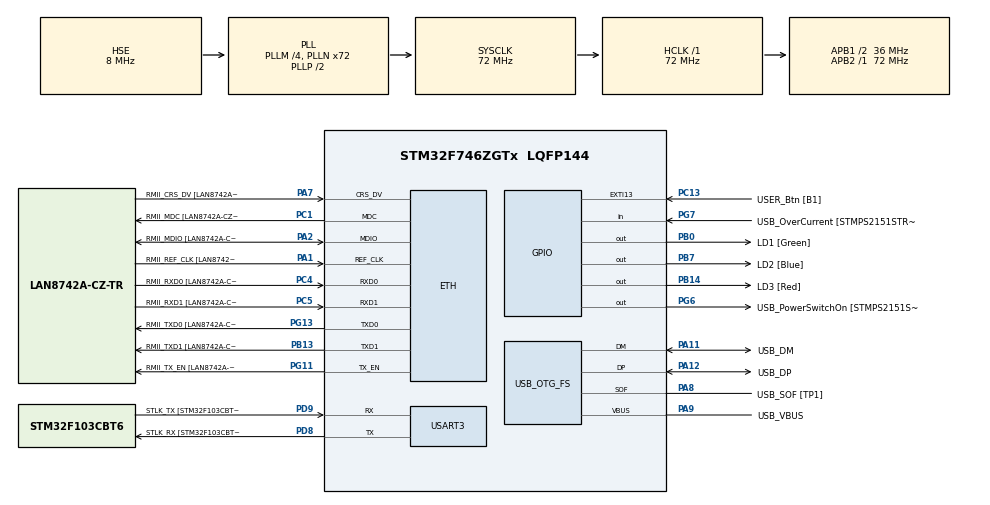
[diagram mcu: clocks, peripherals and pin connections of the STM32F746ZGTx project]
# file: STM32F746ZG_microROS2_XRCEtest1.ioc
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ETH.MediaInterface=ETH_MEDIA_INTERFACE_RMII
ETH.PHY_Name=LAN8742A_PHY_ADDRESS
ETH.PHY_Value=0
ETH.PhyAddress=0
FREERTOS.Tasks01=defaultTask,27,3000,StartDefaultTask,Default,NULL,Dynamic,NULL,NULL
FREERTOS.configUSE_NEWLIB_REENTRANT=1
LWIP.GATEWAY_ADDRESS=192.168.011.001
LWIP.IP_ADDRESS=192.168.011.002
LWIP.LWIP_DHCP=0
LWIP.LWIP_DNS=1
LWIP.LWIP_IGMP=1
LWIP.LWIP_MULTICAST_TX_OPTIONS=1
LWIP.NETMASK_ADDRESS=255.255.255.000
LWIP.Version=v2.1.2_Cube
Mcu.Family=STM32F7
Mcu.Name=STM32F746ZGTx
Mcu.Package=LQFP144
NVIC.ETH_IRQn=true\:5\:0\:false\:false\:true\:true\:false\:true\:true
NVIC.PriorityGroup=NVIC_PRIORITYGROUP_4
NVIC.TIM1_UP_TIM10_IRQn=true\:15\:0\:false\:false\:true\:false\:false\:true\:true
NVIC.TimeBase=TIM1_UP_TIM10_IRQn
NVIC.TimeBaseIP=TIM1
PA1.GPIO_Label=RMII_REF_CLK [LAN8742A-CZ-TR_REFCLK0]
PA1.Mode=RMII
PA1.Signal=ETH_REF_CLK
PA10.GPIO_Label=USB_ID
PA10.Signal=USB_OTG_FS_ID
PA11.GPIO_Label=USB_DM
PA11.Mode=Device_Only
PA11.Signal=USB_OTG_FS_DM
PA12.GPIO_Label=USB_DP
PA12.Mode=Device_Only
PA12.Signal=USB_OTG_FS_DP
PA13.GPIO_Label=TMS
PA13.Mode=Serial_Wire
PA13.Signal=SYS_JTMS-SWDIO
PA14.GPIO_Label=TCK
PA14.Mode=Serial_Wire
PA14.Signal=SYS_JTCK-SWCLK
PA2.GPIO_Label=RMII_MDIO [LAN8742A-CZ-TR_MDIO]
PA2.Mode=RMII
PA2.Signal=ETH_MDIO
PA7.GPIO_Label=RMII_CRS_DV [LAN8742A-CZ-TR_CRS_DV]
PA7.Mode=RMII
PA7.Signal=ETH_CRS_DV
PA8.GPIO_Label=USB_SOF [TP1]
PA8.Mode=Activate_SOF_FS
PA8.Signal=USB_OTG_FS_SOF
PA9.GPIO_Label=USB_VBUS
PA9.Mode=Activate_VBUS
PA9.Signal=USB_OTG_FS_VBUS
PB0.GPIO_Label=LD1 [Green]
PB0.Signal=GPIO_Output
PB13.GPIO_Label=RMII_TXD1 [LAN8742A-CZ-TR_TXD1]
PB13.Mode=RMII
PB13.Signal=ETH_TXD1
PB14.GPIO_Label=LD3 [Red]
PB14.Signal=GPIO_Output
PB3.GPIO_Label=SW0
PB3.Signal=SYS_JTDO-SWO
PB7.GPIO_Label=LD2 [Blue]
PB7.Signal=GPIO_Output
PC1.GPIO_Label=RMII_MDC [LAN8742A-CZ-TR_MDC]
PC1.Mode=RMII
PC1.Signal=ETH_MDC
PC13.GPIO_Label=USER_Btn [B1]
PC13.Signal=GPXTI13
PC14/OSC32_IN.Mode=LSE-External-Oscillator
PC14/OSC32_IN.Signal=RCC_OSC32_IN
PC15/OSC32_OUT.Mode=LSE-External-Oscillator
PC15/OSC32_OUT.Signal=RCC_OSC32_OUT
PC4.GPIO_Label=RMII_RXD0 [LAN8742A-CZ-TR_RXD0]
PC4.Mode=RMII
PC4.Signal=ETH_RXD0
PC5.GPIO_Label=RMII_RXD1 [LAN8742A-CZ-TR_RXD1]
PC5.Mode=RMII
PC5.Signal=ETH_RXD1
PD8.GPIO_Label=STLK_RX [STM32F103CBT6_PA3]
PD8.Mode=Asynchronous
PD8.Signal=USART3_TX
PD9.GPIO_Label=STLK_TX [STM32F103CBT6_PA2]
PD9.Mode=Asynchronous
PD9.Signal=USART3_RX
PG11.GPIO_Label=RMII_TX_EN [LAN8742A-CZ-TR_TXEN]
PG11.Mode=RMII
PG11.Signal=ETH_TX_EN
PG13.GPIO_Label=RMII_TXD0 [LAN8742A-CZ-TR_TXD0]
PG13.Mode=RMII
PG13.Signal=ETH_TXD0
PG6.GPIO_Label=USB_PowerSwitchOn [STMPS2151STR_EN]
PG6.Signal=GPIO_Output
PG7.GPIO_Label=USB_OverCurrent [STMPS2151STR_FAULT]
PG7.Signal=GPIO_Input
PH0/OSC_IN.GPIO_Label=MCO [STM32F103CBT6_PA8]
PH0/OSC_IN.Mode=HSE-External-Clock-Source
PH0/OSC_IN.Signal=RCC_OSC_IN
PH1/OSC_OUT.Mode=HSE-External-Clock-Source
PH1/OSC_OUT.Signal=RCC_OSC_OUT
ProjectManager.HeapSize=0x200
ProjectManager.StackSize=0x400
ProjectManager.TargetToolchain=STM32CubeIDE
RCC.48MHZClocksFreq_Value=24000000
RCC.AHBFreq_Value=72000000
RCC.APB1CLKDivider=RCC_HCLK_DIV2
RCC.APB1Freq_Value=36000000
RCC.APB1TimFreq_Value=72000000
RCC.APB2Freq_Value=72000000
RCC.APB2TimFreq_Value=72000000
RCC.CortexFreq_Value=72000000
RCC.HCLKFreq_Value=72000000
RCC.HSE_VALUE=8000000
RCC.HSI_VALUE=16000000
RCC.PLLM=4
RCC.PLLMUL=RCC_PLL_MUL9
RCC.PLLN=72
RCC.PLLQ=3
RCC.PRESCALERUSB=RCC_USBCLKSOURCE_PLL_DIV1_5
RCC.SYSCLKFreq_VALUE=72000000
RCC.SYSCLKSource=RCC_SYSCLKSOURCE_PLLCLK
RCC.SYSCLKSourceVirtual=RCC_SYSCLKSOURCE_PLLCLK
RCC.USBFreq_Value=48000000
RCC.VCOOutputFreq_Value=144000000
USART3.VirtualMode-Asynchronous=VM_ASYNC
USB_OTG_FS.VirtualMode=Device_Only
VP_FREERTOS_VS_CMSIS_V2.Mode=CMSIS_V2
VP_LWIP_VS_Enabled.Mode=Enabled
VP_SYS_VS_tim1.Mode=TIM1
board=NUCLEO-F746ZG

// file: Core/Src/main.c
/* USER CODE BEGIN Header */
/**
  ******************************************************************************
  * @file           : main.c
  * @brief          : Main program body
  ******************************************************************************
  * @attention
  *
  * Copyright (c) 2022 STMicroelectronics.
  * All rights reserved.
  *
  * This software is licensed under terms that can be found in the LICENSE file
  * in the root directory of this software component.
  * If no LICENSE file comes with this software, it is provided AS-IS.
  *
  ******************************************************************************
  */
/* USER CODE END Header */
#include "main.h"
#include "cmsis_os.h"
#include "lwip.h"

/* USER CODE BEGIN Includes */
#include <rcl/rcl.h>
#include <rcl/error_handling.h>
#include <rclc/rclc.h>
#include <rclc/executor.h>

#include <std_msgs/msg/int32.h>
/* USER CODE END Includes */

UART_HandleTypeDef huart3;

PCD_HandleTypeDef hpcd_USB_OTG_FS;

/* Definitions for defaultTask */
osThreadId_t defaultTaskHandle;
const osThreadAttr_t defaultTask_attributes = {
  .name = "defaultTask",
  .stack_size = 3000 * 4,
  .priority = (osPriority_t) osPriorityNormal3,
};

void SystemClock_Config(void);
static void MX_GPIO_Init(void);
static void MX_USART3_UART_Init(void);
static void MX_USB_OTG_FS_PCD_Init(void);
void StartDefaultTask(void *argument);

/* USER CODE BEGIN PFP */
extern struct netif gnetif;
/* USER CODE END PFP */

int main(void)
{

  /* MCU Configuration--------------------------------------------------------*/

  /* Reset of all peripherals, Initializes the Flash interface and the Systick. */
  HAL_Init();

  /* Configure the system clock */
  SystemClock_Config();

  /* Initialize all configured peripherals */
  MX_GPIO_Init();
  MX_USART3_UART_Init();
  MX_USB_OTG_FS_PCD_Init();

  /* Init scheduler */
  osKernelInitialize();

  /* Create the thread(s) */
  /* creation of defaultTask */
  defaultTaskHandle = osThreadNew(StartDefaultTask, NULL, &defaultTask_attributes);

  /* Start scheduler */
  osKernelStart();

  /* We should never get here as control is now taken by the scheduler */
  /* Infinite loop */
  while (1)
  {

  }
}

void SystemClock_Config(void)
{
  RCC_OscInitTypeDef RCC_OscInitStruct = {0};
  RCC_ClkInitTypeDef RCC_ClkInitStruct = {0};

  /** Configure LSE Drive Capability
  */
  HAL_PWR_EnableBkUpAccess();

  /** Configure the main internal regulator output voltage
  */
  __HAL_RCC_PWR_CLK_ENABLE();
  __HAL_PWR_VOLTAGESCALING_CONFIG(PWR_REGULATOR_VOLTAGE_SCALE3);

  /** Initializes the RCC Oscillators according to the specified parameters
  * in the RCC_OscInitTypeDef structure.
  */
  RCC_OscInitStruct.OscillatorType = RCC_OSCILLATORTYPE_HSE;
  RCC_OscInitStruct.HSEState = RCC_HSE_BYPASS;
  RCC_OscInitStruct.PLL.PLLState = RCC_PLL_ON;
  RCC_OscInitStruct.PLL.PLLSource = RCC_PLLSOURCE_HSE;
  RCC_OscInitStruct.PLL.PLLM = 4;
  RCC_OscInitStruct.PLL.PLLN = 72;
  RCC_OscInitStruct.PLL.PLLP = RCC_PLLP_DIV2;
  RCC_OscInitStruct.PLL.PLLQ = 3;
  if (HAL_RCC_OscConfig(&RCC_OscInitStruct) != HAL_OK)
  {
    Error_Handler();
  }

  /** Initializes the CPU, AHB and APB buses clocks
  */
  RCC_ClkInitStruct.ClockType = RCC_CLOCKTYPE_HCLK|RCC_CLOCKTYPE_SYSCLK
                              |RCC_CLOCKTYPE_PCLK1|RCC_CLOCKTYPE_PCLK2;
  RCC_ClkInitStruct.SYSCLKSource = RCC_SYSCLKSOURCE_PLLCLK;
  RCC_ClkInitStruct.AHBCLKDivider = RCC_SYSCLK_DIV1;
  RCC_ClkInitStruct.APB1CLKDivider = RCC_HCLK_DIV2;
  RCC_ClkInitStruct.APB2CLKDivider = RCC_HCLK_DIV1;

  if (HAL_RCC_ClockConfig(&RCC_ClkInitStruct, FLASH_LATENCY_2) != HAL_OK)
  {
    Error_Handler();
  }
}

static void MX_USART3_UART_Init(void)
{

  huart3.Instance = USART3;
  huart3.Init.BaudRate = 115200;
  huart3.Init.WordLength = UART_WORDLENGTH_8B;
  huart3.Init.StopBits = UART_STOPBITS_1;
  huart3.Init.Parity = UART_PARITY_NONE;
  huart3.Init.Mode = UART_MODE_TX_RX;
  huart3.Init.HwFlowCtl = UART_HWCONTROL_NONE;
  huart3.Init.OverSampling = UART_OVERSAMPLING_16;
  huart3.Init.OneBitSampling = UART_ONE_BIT_SAMPLE_DISABLE;
  huart3.AdvancedInit.AdvFeatureInit = UART_ADVFEATURE_NO_INIT;
  if (HAL_UART_Init(&huart3) != HAL_OK)
  {
    Error_Handler();
  }

}

static void MX_USB_OTG_FS_PCD_Init(void)
{

  hpcd_USB_OTG_FS.Instance = USB_OTG_FS;
  hpcd_USB_OTG_FS.Init.dev_endpoints = 6;
  hpcd_USB_OTG_FS.Init.speed = PCD_SPEED_FULL;
  hpcd_USB_OTG_FS.Init.dma_enable = DISABLE;
  hpcd_USB_OTG_FS.Init.phy_itface = PCD_PHY_EMBEDDED;
  hpcd_USB_OTG_FS.Init.Sof_enable = ENABLE;
  hpcd_USB_OTG_FS.Init.low_power_enable = DISABLE;
  hpcd_USB_OTG_FS.Init.lpm_enable = DISABLE;
  hpcd_USB_OTG_FS.Init.vbus_sensing_enable = ENABLE;
  hpcd_USB_OTG_FS.Init.use_dedicated_ep1 = DISABLE;
  if (HAL_PCD_Init(&hpcd_USB_OTG_FS) != HAL_OK)
  {
    Error_Handler();
  }

}

static void MX_GPIO_Init(void)
{
  GPIO_InitTypeDef GPIO_InitStruct = {0};

  /* GPIO Ports Clock Enable */
  __HAL_RCC_GPIOC_CLK_ENABLE();
  __HAL_RCC_GPIOH_CLK_ENABLE();
  __HAL_RCC_GPIOA_CLK_ENABLE();
  __HAL_RCC_GPIOB_CLK_ENABLE();
  __HAL_RCC_GPIOD_CLK_ENABLE();
  __HAL_RCC_GPIOG_CLK_ENABLE();

  /*Configure GPIO pin Output Level */
  HAL_GPIO_WritePin(GPIOB, LD1_Pin|LD3_Pin|LD2_Pin, GPIO_PIN_RESET);

  /*Configure GPIO pin Output Level */
  HAL_GPIO_WritePin(USB_PowerSwitchOn_GPIO_Port, USB_PowerSwitchOn_Pin, GPIO_PIN_RESET);

  /*Configure GPIO pin : USER_Btn_Pin */
  GPIO_InitStruct.Pin = USER_Btn_Pin;
  GPIO_InitStruct.Mode = GPIO_MODE_IT_RISING;
  GPIO_InitStruct.Pull = GPIO_NOPULL;
  HAL_GPIO_Init(USER_Btn_GPIO_Port, &GPIO_InitStruct);

  /*Configure GPIO pins : LD1_Pin LD3_Pin LD2_Pin */
  GPIO_InitStruct.Pin = LD1_Pin|LD3_Pin|LD2_Pin;
  GPIO_InitStruct.Mode = GPIO_MODE_OUTPUT_PP;
  GPIO_InitStruct.Pull = GPIO_NOPULL;
  GPIO_InitStruct.Speed = GPIO_SPEED_FREQ_LOW;
  HAL_GPIO_Init(GPIOB, &GPIO_InitStruct);

  /*Configure GPIO pin : USB_PowerSwitchOn_Pin */
  GPIO_InitStruct.Pin = USB_PowerSwitchOn_Pin;
  GPIO_InitStruct.Mode = GPIO_MODE_OUTPUT_PP;
  GPIO_InitStruct.Pull = GPIO_NOPULL;
  GPIO_InitStruct.Speed = GPIO_SPEED_FREQ_LOW;
  HAL_GPIO_Init(USB_PowerSwitchOn_GPIO_Port, &GPIO_InitStruct);

  /*Configure GPIO pin : USB_OverCurrent_Pin */
  GPIO_InitStruct.Pin = USB_OverCurrent_Pin;
  GPIO_InitStruct.Mode = GPIO_MODE_INPUT;
  GPIO_InitStruct.Pull = GPIO_NOPULL;
  HAL_GPIO_Init(USB_OverCurrent_GPIO_Port, &GPIO_InitStruct);

}

/* USER CODE BEGIN 4 */
#ifdef __GNUC__
int __io_putchar(int ch)
#else
int fputc(int ch, FILE *f)
#endif /* __GNUC__ */
{
  HAL_UART_Transmit(&huart3, (uint8_t *)&ch, 1, 0xFFFF);
  return ch;
}
/* USER CODE END 4 */

/* USER CODE BEGIN Header_StartDefaultTask */
void * microros_allocate(size_t size, void * state);
void microros_deallocate(void * pointer, void * state);
void * microros_reallocate(void * pointer, size_t size, void * state);
void * microros_zero_allocate(size_t number_of_elements, size_t size_of_element, void * state);
/**
  * @brief  Function implementing the defaultTask thread.
  * @param  argument: Not used
  * @retval None
  */
/* USER CODE END Header_StartDefaultTask */
void StartDefaultTask(void *argument)
{
  /* init code for LWIP */
  MX_LWIP_Init();
  /* USER CODE BEGIN 5 */
  bool availableNetwork = false;
  printf("Ethernet Initialization\r\n");

	//Waiting for an IP
  printf("Waiting for IP\r\n");
  int retries = 0;
	while(gnetif.ip_addr.addr == 0 && retries < 10){
    osDelay(500);
    retries++;
  };

  availableNetwork = (gnetif.ip_addr.addr != 0);
  if (availableNetwork){
    printf("IP: %s\r\n",ip4addr_ntoa(&gnetif.ip_addr));
  }else{
    printf("Impossible to retrieve an IP\n");
  }

  rcl_allocator_t freeRTOS_allocator = rcutils_get_zero_initialized_allocator();
   freeRTOS_allocator.allocate = microros_allocate;
   freeRTOS_allocator.deallocate = microros_deallocate;
   freeRTOS_allocator.reallocate = microros_reallocate;
   freeRTOS_allocator.zero_allocate =  microros_zero_allocate;

   if (!rcutils_set_default_allocator(&freeRTOS_allocator)) {
 	 printf("Error on default allocators (line %d)\n", __LINE__);
   }

   // micro-ROS app

   rcl_publisher_t publisher;
   std_msgs__msg__Int32 msg;
   rclc_support_t support;
   rcl_allocator_t allocator;
   rcl_node_t node;

   allocator = rcl_get_default_allocator();

   //create init_options
   rclc_support_init(&support, 0, NULL, &allocator);

   // create node
   rclc_node_init_default(&node, "cubemx_node", "", &support);

   // create publisher
   rclc_publisher_init_default(
     &publisher,
     &node,
     ROSIDL_GET_MSG_TYPE_SUPPORT(std_msgs, msg, Int32),
     "cubemx_publisher");

   msg.data = 0;

   // TO print this enable FreeRTOS -> USE_STATS_FORMATTING_FUNCTIONS

   // static char ptrTaskList[1000];

   // vTaskList(ptrTaskList);
   // printf("**********************************");
   // printf("Task  State   Prio    Stack    Num");
   // printf("**********************************");
   // printf(ptrTaskList);
   // printf("**********************************");

   printf("Start \n");

   for(;;) {
 	 printf("publish: %ld \n", msg.data);
     //(void)! rcl_publish(&publisher, &msg, NULL);
     rcl_ret_t ret = rcl_publish(&publisher, &msg, NULL);
     if (ret != RCL_RET_OK)
     {
       printf("Error publishing (line %d)\n", __LINE__);
     }else{
       msg.data++;
     }

     osDelay(portTICK_RATE_MS*1000);
   }
  /* USER CODE END 5 */
}

void HAL_TIM_PeriodElapsedCallback(TIM_HandleTypeDef *htim)
{
  if (htim->Instance == TIM1) {
    HAL_IncTick();
  }
}

void Error_Handler(void)
{
  __disable_irq();
  while (1)
  {
  }
}
